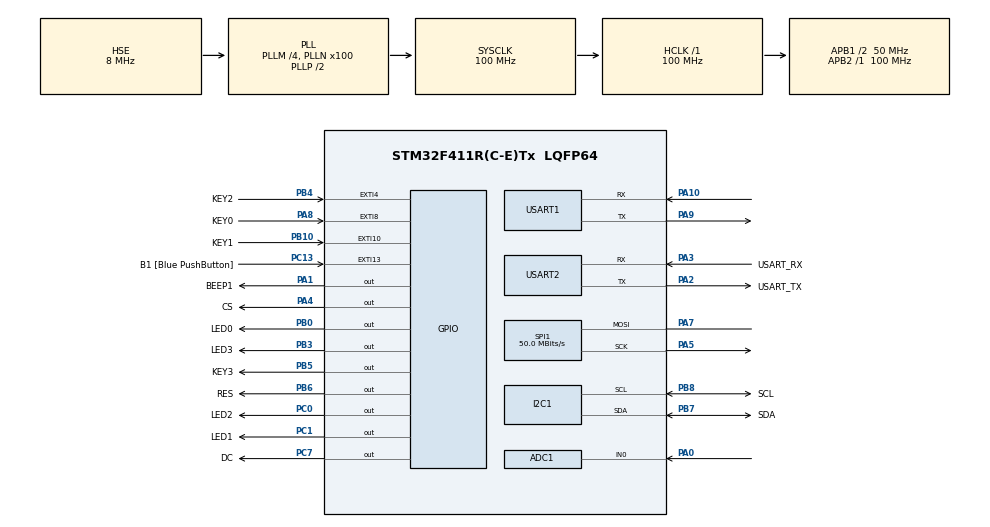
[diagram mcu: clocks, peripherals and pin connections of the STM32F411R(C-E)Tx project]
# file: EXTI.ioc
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ADC1.Channel-0\#ChannelRegularConversion=ADC_CHANNEL_0
ADC1.ContinuousConvMode=ENABLE
ADC1.DMAContinuousRequests=ENABLE
ADC1.NbrOfConversion=1
ADC1.NbrOfConversionFlag=1
ADC1.Rank-0\#ChannelRegularConversion=1
ADC1.SamplingTime-0\#ChannelRegularConversion=ADC_SAMPLETIME_3CYCLES
ADC1.ScanConvMode=ENABLE
ADC1.master=1
Dma.ADC1.0.Direction=DMA_PERIPH_TO_MEMORY
Dma.ADC1.0.FIFOMode=DMA_FIFOMODE_DISABLE
Dma.ADC1.0.Instance=DMA2_Stream0
Dma.ADC1.0.MemDataAlignment=DMA_MDATAALIGN_WORD
Dma.ADC1.0.MemInc=DMA_MINC_ENABLE
Dma.ADC1.0.Mode=DMA_CIRCULAR
Dma.ADC1.0.PeriphDataAlignment=DMA_PDATAALIGN_WORD
Dma.ADC1.0.PeriphInc=DMA_PINC_DISABLE
Dma.ADC1.0.Priority=DMA_PRIORITY_LOW
Dma.Request0=ADC1
Dma.Request1=SPI1_TX
Dma.SPI1_TX.1.Direction=DMA_MEMORY_TO_PERIPH
Dma.SPI1_TX.1.FIFOMode=DMA_FIFOMODE_DISABLE
Dma.SPI1_TX.1.Instance=DMA2_Stream2
Dma.SPI1_TX.1.MemDataAlignment=DMA_MDATAALIGN_BYTE
Dma.SPI1_TX.1.MemInc=DMA_MINC_ENABLE
Dma.SPI1_TX.1.Mode=DMA_NORMAL
Dma.SPI1_TX.1.PeriphDataAlignment=DMA_PDATAALIGN_BYTE
Dma.SPI1_TX.1.PeriphInc=DMA_PINC_DISABLE
Dma.SPI1_TX.1.Priority=DMA_PRIORITY_VERY_HIGH
Mcu.Family=STM32F4
Mcu.Name=STM32F411R(C-E)Tx
Mcu.Package=LQFP64
NVIC.DMA2_Stream0_IRQn=true\:0\:0\:false\:false\:true\:false\:true\:true
NVIC.DMA2_Stream2_IRQn=true\:0\:0\:false\:false\:true\:false\:true\:true
NVIC.EXTI15_10_IRQn=true\:2\:0\:true\:false\:true\:true\:true\:true
NVIC.EXTI4_IRQn=true\:3\:0\:true\:false\:true\:true\:true\:true
NVIC.EXTI9_5_IRQn=true\:1\:0\:true\:false\:true\:true\:true\:true
NVIC.PriorityGroup=NVIC_PRIORITYGROUP_2
PA0-WKUP.Signal=ADCx_IN0
PA1.GPIO_Label=BEEP1
PA1.GPIO_PuPd=GPIO_PULLUP
PA1.Signal=GPIO_Output
PA10.Mode=Asynchronous
PA10.Signal=USART1_RX
PA13.GPIO_Label=TMS
PA13.Mode=Serial_Wire
PA13.Signal=SYS_JTMS-SWDIO
PA14.GPIO_Label=TCK
PA14.Mode=Serial_Wire
PA14.Signal=SYS_JTCK-SWCLK
PA2.GPIO_Label=USART_TX
PA2.Mode=Asynchronous
PA2.Signal=USART2_TX
PA3.GPIO_Label=USART_RX
PA3.Mode=Asynchronous
PA3.Signal=USART2_RX
PA4.GPIO_Label=CS
PA4.GPIO_Speed=GPIO_SPEED_FREQ_VERY_HIGH
PA4.Signal=GPIO_Output
PA5.Mode=Simplex_Bidirectional_Master
PA5.Signal=SPI1_SCK
PA7.Mode=Simplex_Bidirectional_Master
PA7.Signal=SPI1_MOSI
PA8.GPIO_Label=KEY0
PA8.GPIO_ModeDefaultEXTI=GPIO_MODE_IT_RISING
PA8.Signal=GPXTI8
PA9.Mode=Asynchronous
PA9.Signal=USART1_TX
PB0.GPIO_Label=LED0
PB0.GPIO_PuPd=GPIO_PULLUP
PB0.Signal=GPIO_Output
PB10.GPIO_Label=KEY1
PB10.Signal=GPXTI10
PB3.GPIO_Label=LED3
PB3.GPIO_PuPd=GPIO_PULLUP
PB3.Signal=GPIO_Output
PB4.GPIO_Label=KEY2
PB4.Signal=GPXTI4
PB5.GPIO_Label=KEY3
PB5.Signal=GPIO_Output
PB6.GPIO_Label=RES
PB6.GPIO_Speed=GPIO_SPEED_FREQ_VERY_HIGH
PB6.Signal=GPIO_Output
PB7.GPIO_Label=SDA
PB7.Mode=I2C
PB7.Signal=I2C1_SDA
PB8.GPIO_Label=SCL
PB8.Mode=I2C
PB8.Signal=I2C1_SCL
PC0.GPIO_Label=LED2
PC0.GPIO_PuPd=GPIO_PULLUP
PC0.Signal=GPIO_Output
PC1.GPIO_Label=LED1
PC1.GPIO_PuPd=GPIO_PULLUP
PC1.Signal=GPIO_Output
PC13-ANTI_TAMP.GPIO_Label=B1 [Blue PushButton]
PC13-ANTI_TAMP.GPIO_ModeDefaultEXTI=GPIO_MODE_IT_FALLING
PC13-ANTI_TAMP.Signal=GPXTI13
PC14-OSC32_IN.Mode=LSE-External-Oscillator
PC14-OSC32_IN.Signal=RCC_OSC32_IN
PC15-OSC32_OUT.Mode=LSE-External-Oscillator
PC15-OSC32_OUT.Signal=RCC_OSC32_OUT
PC7.GPIO_Label=DC
PC7.GPIO_Speed=GPIO_SPEED_FREQ_VERY_HIGH
PC7.Signal=GPIO_Output
PH0\ -\ OSC_IN.Mode=HSE-External-Clock-Source
PH0\ -\ OSC_IN.Signal=RCC_OSC_IN
PH1\ -\ OSC_OUT.Mode=HSE-External-Clock-Source
PH1\ -\ OSC_OUT.Signal=RCC_OSC_OUT
ProjectManager.HeapSize=0x200
ProjectManager.StackSize=0x400
ProjectManager.TargetToolchain=MDK-ARM V5.32
RCC.48MHZClocksFreq_Value=50000000
RCC.AHBFreq_Value=100000000
RCC.APB1CLKDivider=RCC_HCLK_DIV2
RCC.APB1Freq_Value=50000000
RCC.APB1TimFreq_Value=100000000
RCC.APB2Freq_Value=100000000
RCC.APB2TimFreq_Value=100000000
RCC.CortexFreq_Value=100000000
RCC.FLatency-AdvancedSettings=FLASH_LATENCY_3
RCC.HCLKFreq_Value=100000000
RCC.HSE_VALUE=8000000
RCC.HSI_VALUE=16000000
RCC.PLLM=4
RCC.PLLN=100
RCC.PLLSourceVirtual=RCC_PLLSOURCE_HSE
RCC.SYSCLKFreq_VALUE=100000000
RCC.SYSCLKSource=RCC_SYSCLKSOURCE_PLLCLK
RCC.VCOOutputFreq_Value=200000000
SH.ADCx_IN0.0=ADC1_IN0,IN0
SPI1.CalculateBaudRate=50.0 MBits/s
SPI1.DataSize=SPI_DATASIZE_8BIT
SPI1.Direction=SPI_DIRECTION_1LINE
SPI1.Mode=SPI_MODE_MASTER
SPI1.VirtualType=VM_MASTER
USART1.VirtualMode=VM_ASYNC
USART2.VirtualMode=VM_ASYNC
board=NUCLEO-F411RE

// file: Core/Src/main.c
/* USER CODE BEGIN Header */
/**
  ******************************************************************************
  * @file           : main.c
  * @brief          : Main program body
  ******************************************************************************
  * @attention
  *
  * Copyright (c) 2023 STMicroelectronics.
  * All rights reserved.
  *
  * This software is licensed under terms that can be found in the LICENSE file
  * in the root directory of this software component.
  * If no LICENSE file comes with this software, it is provided AS-IS.
  *
  ******************************************************************************
  */
/* USER CODE END Header */
#include "main.h"
#include "adc.h"
#include "dma.h"
#include "i2c.h"
#include "spi.h"
#include "usart.h"
#include "gpio.h"

/* USER CODE BEGIN Includes */
#include "ST7789_Driver.h"
#include "example.h"
#include "stdio.h"
/* USER CODE END Includes */

/* USER CODE BEGIN PV */
char EXTI0_num_str[20];
uint32_t EXTI0_num = 0;
char EXTI1_num_str[20];
uint32_t EXTI1_num = 0;
char EXTI2_num_str[20];
uint32_t EXTI2_num = 0;

uint8_t update_num = 0;
uint8_t update_led = 0;
uint8_t is_falling_edge_captured = 0;

uint8_t LED01_ON = 0;
uint8_t LED23_ON = 0;

uint32_t timer_led01_off = 0;
uint32_t timer_led23_off = 0;

uint8_t sorft_exti = 0;

uint8_t SWIT1_Flag, SWIT0_Flag;

uint8_t speed;
uint8_t flow_led;
/* USER CODE END PV */

void SystemClock_Config(void);
void water_led(uint16_t delay_t);

int main(void)
{

  /* MCU Configuration--------------------------------------------------------*/

  /* Reset of all peripherals, Initializes the Flash interface and the Systick. */
  HAL_Init();

  /* Configure the system clock */
  SystemClock_Config();

  /* Initialize all configured peripherals */
  MX_GPIO_Init();
  MX_DMA_Init();
  MX_USART2_UART_Init();
  MX_SPI1_Init();
  MX_USART1_UART_Init();
  MX_ADC1_Init();
  MX_I2C1_Init();
  /* USER CODE BEGIN 2 */
ST7789_Init();
ST7789_Fill_Screen(BLACK);

LCD_Display_String(50,150,"Default interface",YELLOW,BLACK);

sprintf(EXTI0_num_str,"EXTI0_num: %d", EXTI0_num);
LCD_Display_String(65,60,EXTI0_num_str,WHITE,BLACK);
sprintf(EXTI1_num_str,"EXTI1_num: %d", EXTI1_num);
LCD_Display_String(65,80,EXTI1_num_str,WHITE,BLACK);
sprintf(EXTI2_num_str,"EXTI2_num: %d", EXTI2_num);
LCD_Display_String(65,100,EXTI2_num_str,WHITE,BLACK);

  /* USER CODE END 2 */

  /* Infinite loop */
  /* USER CODE BEGIN WHILE */
  while (1)
  {
	  if(EXTI0_num - EXTI1_num == 4) // EXTI0触发次数比EXTI1触发次数多4次或以上
				__HAL_GPIO_EXTI_GENERATE_SWIT(KEY1_Pin);
	  if(EXTI1_num - EXTI0_num == 4) // EXTI1触发次数比EXTI0触发次数多4次或以上
				__HAL_GPIO_EXTI_GENERATE_SWIT(KEY0_Pin);

	  if(update_num)
	  {
		sprintf(EXTI0_num_str,"EXTI0_num: %d", EXTI0_num);
		LCD_Display_String(65,60,EXTI0_num_str,WHITE,BLACK);
		sprintf(EXTI1_num_str,"EXTI1_num: %d", EXTI1_num);
		LCD_Display_String(65,80,EXTI1_num_str,WHITE,BLACK);
		sprintf(EXTI2_num_str,"EXTI2_num: %d", EXTI2_num);
		LCD_Display_String(65,100,EXTI2_num_str,WHITE,BLACK);

		update_num = 0;
		is_falling_edge_captured = 0;
	  }

	  if(update_led)
	  {
		if(LED01_ON)
		{
			HAL_GPIO_WritePin(LED0_GPIO_Port,LED0_Pin,1);
			HAL_GPIO_WritePin(LED1_GPIO_Port,LED1_Pin,1);
		}
		else
		{
			HAL_GPIO_WritePin(LED0_GPIO_Port,LED0_Pin,0);
			HAL_GPIO_WritePin(LED1_GPIO_Port,LED1_Pin,0);
		}
		if(LED23_ON)
		{
			HAL_GPIO_WritePin(LED2_GPIO_Port,LED2_Pin,1);
			HAL_GPIO_WritePin(LED3_GPIO_Port,LED3_Pin,1);
		}
		else
		{
			HAL_GPIO_WritePin(LED2_GPIO_Port,LED2_Pin,0);
			HAL_GPIO_WritePin(LED3_GPIO_Port,LED3_Pin,0);
		}
		update_led = 0;
	  }

	  if(flow_led)
	  {
		  sprintf(EXTI2_num_str,"EXTI2_num: %d", EXTI2_num);
		 LCD_Display_String(65,100,EXTI2_num_str,WHITE,BLACK);
		  if(speed == 1)
		  {
			  water_led(1000);
		  }
		  else if(speed == 2)
		  {
			  water_led(500);
		  }
		  else if(speed == 3)
		  {
			  water_led(100);
		  }
	  }

    /* USER CODE END WHILE */

  }
}

void SystemClock_Config(void)
{
  RCC_OscInitTypeDef RCC_OscInitStruct = {0};
  RCC_ClkInitTypeDef RCC_ClkInitStruct = {0};

  /** Configure the main internal regulator output voltage
  */
  __HAL_RCC_PWR_CLK_ENABLE();
  __HAL_PWR_VOLTAGESCALING_CONFIG(PWR_REGULATOR_VOLTAGE_SCALE1);

  /** Initializes the RCC Oscillators according to the specified parameters
  * in the RCC_OscInitTypeDef structure.
  */
  RCC_OscInitStruct.OscillatorType = RCC_OSCILLATORTYPE_HSE;
  RCC_OscInitStruct.HSEState = RCC_HSE_BYPASS;
  RCC_OscInitStruct.PLL.PLLState = RCC_PLL_ON;
  RCC_OscInitStruct.PLL.PLLSource = RCC_PLLSOURCE_HSE;
  RCC_OscInitStruct.PLL.PLLM = 4;
  RCC_OscInitStruct.PLL.PLLN = 100;
  RCC_OscInitStruct.PLL.PLLP = RCC_PLLP_DIV2;
  RCC_OscInitStruct.PLL.PLLQ = 4;
  if (HAL_RCC_OscConfig(&RCC_OscInitStruct) != HAL_OK)
  {
    Error_Handler();
  }

  /** Initializes the CPU, AHB and APB buses clocks
  */
  RCC_ClkInitStruct.ClockType = RCC_CLOCKTYPE_HCLK|RCC_CLOCKTYPE_SYSCLK
                              |RCC_CLOCKTYPE_PCLK1|RCC_CLOCKTYPE_PCLK2;
  RCC_ClkInitStruct.SYSCLKSource = RCC_SYSCLKSOURCE_PLLCLK;
  RCC_ClkInitStruct.AHBCLKDivider = RCC_SYSCLK_DIV1;
  RCC_ClkInitStruct.APB1CLKDivider = RCC_HCLK_DIV2;
  RCC_ClkInitStruct.APB2CLKDivider = RCC_HCLK_DIV1;

  if (HAL_RCC_ClockConfig(&RCC_ClkInitStruct, FLASH_LATENCY_3) != HAL_OK)
  {
    Error_Handler();
  }
}

/* USER CODE BEGIN 4 */
void HAL_SYSTICK_Callback()
{
	if(LED01_ON)
	{
		timer_led01_off++;
		if(timer_led01_off >= 2000)
		{
			update_led = 1;
			LED01_ON = 0;
			timer_led01_off = 0;
		}
	}
	if(LED23_ON)
	{
		timer_led23_off++;
		if(timer_led23_off >= 2000)
		{
			update_led = 1;
			LED23_ON = 0;
			timer_led23_off = 0;
		}
	}

}
void HAL_GPIO_EXTI_Callback(uint16_t GPIO_Pin)
{
  update_num = 1;

  if (GPIO_Pin == KEY0_Pin && !is_falling_edge_captured) {
    EXTI0_num++;
	LED01_ON = 1;
	update_led = 1;
	is_falling_edge_captured = 1;
  }
  else if (GPIO_Pin == KEY1_Pin && !is_falling_edge_captured) {
    EXTI1_num++;
	update_led = 1;
	LED23_ON = 1;
	is_falling_edge_captured = 1;
//	HAL_Delay(1000);
  }
  else if (GPIO_Pin == KEY2_Pin && !is_falling_edge_captured) {
    EXTI2_num++;
	switch (EXTI2_num % 3) {
        case 0:
            speed = 3;
            break;
        case 1:
            speed = 1;
            break;
        case 2:
            speed = 2;
            break;
    }
	flow_led = 1;
	is_falling_edge_captured = 1;
  }

}
void water_led(uint16_t delay_t)
{
	HAL_GPIO_WritePin(LED0_GPIO_Port, LED0_Pin, GPIO_PIN_SET);
	HAL_Delay(delay_t);
	HAL_GPIO_WritePin(LED0_GPIO_Port, LED0_Pin, GPIO_PIN_RESET);

	HAL_GPIO_WritePin(LED1_GPIO_Port, LED1_Pin, GPIO_PIN_SET);
	HAL_Delay(delay_t);
	HAL_GPIO_WritePin(LED1_GPIO_Port, LED1_Pin, GPIO_PIN_RESET);

	HAL_GPIO_WritePin(LED2_GPIO_Port, LED2_Pin, GPIO_PIN_SET);
	HAL_Delay(delay_t);
	HAL_GPIO_WritePin(LED2_GPIO_Port, LED2_Pin, GPIO_PIN_RESET);

	HAL_GPIO_WritePin(LED3_GPIO_Port, LED3_Pin, GPIO_PIN_SET);
	HAL_Delay(delay_t);
	HAL_GPIO_WritePin(LED3_GPIO_Port, LED3_Pin, GPIO_PIN_RESET);
}
/* USER CODE END 4 */

void Error_Handler(void)
{
  __disable_irq();
  while (1)
  {
  }
}
